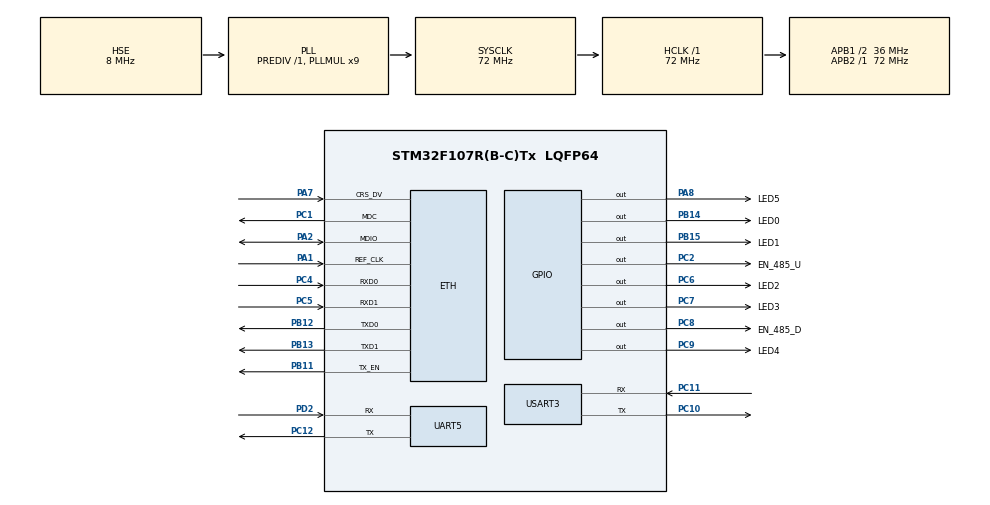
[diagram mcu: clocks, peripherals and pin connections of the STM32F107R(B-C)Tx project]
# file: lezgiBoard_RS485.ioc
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Dma.MEMTOMEM.0.Direction=DMA_MEMORY_TO_MEMORY
Dma.MEMTOMEM.0.Instance=DMA1_Channel1
Dma.MEMTOMEM.0.MemDataAlignment=DMA_MDATAALIGN_BYTE
Dma.MEMTOMEM.0.MemInc=DMA_MINC_ENABLE
Dma.MEMTOMEM.0.Mode=DMA_NORMAL
Dma.MEMTOMEM.0.PeriphDataAlignment=DMA_PDATAALIGN_BYTE
Dma.MEMTOMEM.0.PeriphInc=DMA_PINC_ENABLE
Dma.MEMTOMEM.0.Priority=DMA_PRIORITY_MEDIUM
Dma.Request0=MEMTOMEM
Dma.Request1=USART3_TX
Dma.Request2=USART3_RX
Dma.USART3_RX.2.Direction=DMA_PERIPH_TO_MEMORY
Dma.USART3_RX.2.Instance=DMA1_Channel3
Dma.USART3_RX.2.MemDataAlignment=DMA_MDATAALIGN_BYTE
Dma.USART3_RX.2.MemInc=DMA_MINC_ENABLE
Dma.USART3_RX.2.Mode=DMA_CIRCULAR
Dma.USART3_RX.2.PeriphDataAlignment=DMA_PDATAALIGN_BYTE
Dma.USART3_RX.2.PeriphInc=DMA_PINC_DISABLE
Dma.USART3_RX.2.Priority=DMA_PRIORITY_HIGH
Dma.USART3_TX.1.Direction=DMA_MEMORY_TO_PERIPH
Dma.USART3_TX.1.Instance=DMA1_Channel2
Dma.USART3_TX.1.MemDataAlignment=DMA_MDATAALIGN_BYTE
Dma.USART3_TX.1.MemInc=DMA_MINC_ENABLE
Dma.USART3_TX.1.Mode=DMA_NORMAL
Dma.USART3_TX.1.PeriphDataAlignment=DMA_PDATAALIGN_BYTE
Dma.USART3_TX.1.PeriphInc=DMA_PINC_DISABLE
Dma.USART3_TX.1.Priority=DMA_PRIORITY_MEDIUM
ETH.MediaInterface=ETH_MEDIA_INTERFACE_RMII
IWDG.Prescaler=IWDG_PRESCALER_32
IWDG.Reload=2500
LWIP.LWIP_DNS=1
LWIP.LWIP_NETIF_STATUS_CALLBACK=1
LWIP.Version=v2.0.3_Cube
Mcu.Family=STM32F1
Mcu.Name=STM32F107R(B-C)Tx
Mcu.Package=LQFP64
NVIC.DMA1_Channel1_IRQn=true\:0\:0\:false\:false\:true\:true\:true\:true
NVIC.DMA1_Channel2_IRQn=true\:0\:0\:false\:false\:true\:false\:true\:true
NVIC.DMA1_Channel3_IRQn=true\:0\:0\:false\:false\:true\:false\:true\:true
NVIC.ETH_IRQn=true\:0\:0\:false\:false\:true\:true\:true\:true
NVIC.ETH_WKUP_IRQn=true\:0\:0\:false\:false\:true\:true\:true\:true
NVIC.PriorityGroup=NVIC_PRIORITYGROUP_4
NVIC.TIM7_IRQn=true\:15\:0\:false\:false\:true\:false\:true\:true
NVIC.TimeBase=TIM7_IRQn
NVIC.TimeBaseIP=TIM7
NVIC.UART5_IRQn=true\:0\:0\:false\:false\:true\:true\:true\:true
NVIC.USART3_IRQn=true\:0\:0\:false\:false\:true\:true\:true\:true
PA1.Mode=RMII
PA1.Signal=ETH_REF_CLK
PA13.Mode=Serial_Wire
PA13.Signal=SYS_JTMS-SWDIO
PA14.Mode=Serial_Wire
PA14.Signal=SYS_JTCK-SWCLK
PA2.Mode=RMII
PA2.Signal=ETH_MDIO
PA7.Mode=RMII
PA7.Signal=ETH_CRS_DV
PA8.GPIO_Label=LED5
PA8.GPIO_ModeDefaultOutputPP=GPIO_MODE_OUTPUT_PP
PA8.GPIO_PuPd=GPIO_NOPULL
PA8.GPIO_Speed=GPIO_SPEED_FREQ_HIGH
PA8.PinState=GPIO_PIN_RESET
PA8.Signal=GPIO_Output
PB11.Mode=RMII
PB11.Signal=ETH_TX_EN
PB12.Mode=RMII
PB12.Signal=ETH_TXD0
PB13.Mode=RMII
PB13.Signal=ETH_TXD1
PB14.GPIO_Label=LED0
PB14.GPIO_ModeDefaultOutputPP=GPIO_MODE_OUTPUT_PP
PB14.GPIO_PuPd=GPIO_NOPULL
PB14.GPIO_Speed=GPIO_SPEED_FREQ_HIGH
PB14.PinState=GPIO_PIN_RESET
PB14.Signal=GPIO_Output
PB15.GPIO_Label=LED1
PB15.GPIO_ModeDefaultOutputPP=GPIO_MODE_OUTPUT_PP
PB15.GPIO_PuPd=GPIO_NOPULL
PB15.GPIO_Speed=GPIO_SPEED_FREQ_HIGH
PB15.PinState=GPIO_PIN_RESET
PB15.Signal=GPIO_Output
PC1.Mode=RMII
PC1.Signal=ETH_MDC
PC10.Mode=Asynchronous
PC10.Signal=USART3_TX
PC11.Mode=Asynchronous
PC11.Signal=USART3_RX
PC12.Mode=Asynchronous
PC12.Signal=UART5_TX
PC2.GPIO_Label=EN_485_U
PC2.GPIO_Speed=GPIO_SPEED_FREQ_HIGH
PC2.Signal=GPIO_Output
PC4.Mode=RMII
PC4.Signal=ETH_RXD0
PC5.Mode=RMII
PC5.Signal=ETH_RXD1
PC6.GPIO_Label=LED2
PC6.GPIO_ModeDefaultOutputPP=GPIO_MODE_OUTPUT_PP
PC6.GPIO_PuPd=GPIO_NOPULL
PC6.GPIO_Speed=GPIO_SPEED_FREQ_HIGH
PC6.PinState=GPIO_PIN_RESET
PC6.Signal=GPIO_Output
PC7.GPIO_Label=LED3
PC7.GPIO_ModeDefaultOutputPP=GPIO_MODE_OUTPUT_PP
PC7.GPIO_PuPd=GPIO_NOPULL
PC7.GPIO_Speed=GPIO_SPEED_FREQ_HIGH
PC7.PinState=GPIO_PIN_RESET
PC7.Signal=GPIO_Output
PC8.GPIO_Label=EN_485_D
PC8.GPIO_ModeDefaultOutputPP=GPIO_MODE_OUTPUT_PP
PC8.GPIO_PuPd=GPIO_NOPULL
PC8.GPIO_Speed=GPIO_SPEED_FREQ_HIGH
PC8.PinState=GPIO_PIN_RESET
PC8.Signal=GPIO_Output
PC9.GPIO_Label=LED4
PC9.GPIO_ModeDefaultOutputPP=GPIO_MODE_OUTPUT_PP
PC9.GPIO_PuPd=GPIO_NOPULL
PC9.GPIO_Speed=GPIO_SPEED_FREQ_HIGH
PC9.PinState=GPIO_PIN_RESET
PC9.Signal=GPIO_Output
PD0-OSC_IN.Mode=HSE-External-Oscillator
PD0-OSC_IN.Signal=RCC_OSC_IN
PD1-OSC_OUT.Mode=HSE-External-Oscillator
PD1-OSC_OUT.Signal=RCC_OSC_OUT
PD2.Mode=Asynchronous
PD2.Signal=UART5_RX
ProjectManager.HeapSize=0x200
ProjectManager.StackSize=0x400
ProjectManager.TargetToolchain=STM32CubeIDE
RCC.AHBFreq_Value=72000000
RCC.APB1CLKDivider=RCC_HCLK_DIV2
RCC.APB1Freq_Value=36000000
RCC.APB1TimFreq_Value=72000000
RCC.APB2Freq_Value=72000000
RCC.APB2TimFreq_Value=72000000
RCC.EnbaleCSS=true
RCC.HCLKFreq_Value=72000000
RCC.PLLMUL=RCC_PLL_MUL9
RCC.PLLSourceVirtual=RCC_PLLSOURCE_HSE
RCC.SYSCLKFreq_VALUE=72000000
RCC.SYSCLKSource=RCC_SYSCLKSOURCE_PLLCLK
RCC.USBFreq_Value=48000000
UART5.VirtualMode=Asynchronous
USART3.VirtualMode=VM_ASYNC
VP_IWDG_VS_IWDG.Mode=IWDG_Activate
VP_LWIP_VS_Enabled.Mode=Enabled
VP_SYS_VS_tim7.Mode=TIM7
board=custom

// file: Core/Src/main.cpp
/* USER CODE BEGIN Header */
/**
  ******************************************************************************
  * @file           : main.c
  * @brief          : Main program body
  ******************************************************************************
  * @attention
  *
  * Copyright (c) 2026 STMicroelectronics.
  * All rights reserved.
  *
  * This software is licensed under terms that can be found in the LICENSE file
  * in the root directory of this software component.
  * If no LICENSE file comes with this software, it is provided AS-IS.
  *
  ******************************************************************************
  */
/* USER CODE END Header */
#include "main.h"
#include "lwip.h"

/* USER CODE BEGIN Includes */
#include "stm32f1xx_hal_uart.h"
#include "stm32f1xx_it.h"
#include "jsonpacket.hpp"
/* USER CODE END Includes */

IWDG_HandleTypeDef hiwdg;

UART_HandleTypeDef huart5;
UART_HandleTypeDef huart3;
DMA_HandleTypeDef hdma_usart3_tx;
DMA_HandleTypeDef hdma_usart3_rx;

DMA_HandleTypeDef hdma_memtomem_dma1_channel1;
/* USER CODE BEGIN PV */
uint32_t nextLedTime,checkLinkState,sendRequest;
GPIO_PinState currentState;
uint8_t NetBiosName[100];
bool clientState = false;
err_t err;
HAL_StatusTypeDef uartErr;

extern struct netif gnetif;

uint8_t IPAddr[4],NetMask[4],Gateway[4],GIP[4];

extern uint8_t rxLineBusy;
Packets packet;
/* USER CODE END PV */

void SystemClock_Config(void);
static void MX_GPIO_Init(void);
static void MX_DMA_Init(void);
static void MX_IWDG_Init(void);
static void MX_UART5_Init(void);
static void MX_USART3_UART_Init(void);
/* USER CODE BEGIN PFP */
void ReadIP(void);
void sendProcessControl(Packets *packet);
HAL_StatusTypeDef rs485OneSendData(uint8_t *_data, uint32_t _dataLen);
//HAL_StatusTypeDef rs485OneSendData(uint8_t *_json, uint32_t _jsonLen = 0, uint8_t *_payload = nullptr, uint32_t _payloadLen = 0);
/* USER CODE END PFP */

/* USER CODE BEGIN 0 */
void HAL_UART_TxCpltCallback(UART_HandleTypeDef *huart)
{
	if(huart == &huart3)
	{
		while(__HAL_UART_GET_FLAG(&huart3, UART_FLAG_TC) == RESET);
		HAL_GPIO_WritePin(EN_485_U_GPIO_Port, EN_485_U_Pin, GPIO_PIN_RESET);
		packet.txPacketCompleted();
	}
}

void UartPacket_IdleCallback(UART_HandleTypeDef *huart)
{
	uint8_t *jsonBody = NULL,*payload = NULL;
	uint32_t jsonLen,payloadLen;
	packet.readRxPacket(huart, &jsonBody, &jsonLen, &payload, &payloadLen);
	rxLineBusy = 0;

	if(jsonLen == 0 || jsonBody == NULL)
	{
		return;
	}

	HAL_GPIO_WritePin(LED2_GPIO_Port, LED2_Pin, GPIO_PIN_SET);

	JsonDocument inputDoc;
	JsonDocument outputDoc;

	DeserializationError error = deserializeJson(inputDoc, jsonBody);

	if(!error)
	{
		if(inputDoc["type"].as<int>() == Request)
		{
			if(inputDoc["name"] != "LB")
			{
				return;
			}
			if(inputDoc["req"] == "Time")
			{
				outputDoc["type"] = Response;
				outputDoc["state"] = ok;
				outputDoc["name"] = "LB";
				outputDoc["Time"] = HAL_GetTick()/1000;
				packet.addTxPacket(Low, &outputDoc);
			}
			if(inputDoc["req"] == "TH")
			{
				outputDoc["type"] = Response;
				outputDoc["name"] = "LB";
				outputDoc["state"] = nok;
				packet.addTxPacket(Low, &outputDoc);
			}
		}
	}

}
/* USER CODE END 0 */

int main(void)
{

  /* MCU Configuration--------------------------------------------------------*/

  /* Reset of all peripherals, Initializes the Flash interface and the Systick. */
  HAL_Init();

  /* Configure the system clock */
  SystemClock_Config();

  /* USER CODE BEGIN SysInit */
  __enable_irq();
  /* USER CODE END SysInit */

  /* Initialize all configured peripherals */
  MX_GPIO_Init();
  MX_DMA_Init();
  MX_LWIP_Init();
  MX_UART5_Init();
  MX_USART3_UART_Init();
  MX_IWDG_Init();
  /* USER CODE BEGIN 2 */
	__HAL_IWDG_START(&hiwdg);
	HAL_IWDG_Refresh(&hiwdg);
	currentState = GPIO_PIN_RESET;
	sprintf((char*)NetBiosName,"rs485Server");
	netif_set_hostname(&gnetif,(char*)NetBiosName);
	HAL_IWDG_Refresh(&hiwdg);
	HAL_GPIO_WritePin(LED0_GPIO_Port, LED0_Pin, GPIO_PIN_SET);
	//HAL_UART_Receive_IT(&huart3,(uint8_t *)uartBuffer,300);
	packet.setRxLoopState(true);
	HAL_UART_Receive_DMA(&huart3, packet.getrxBuffer(), packet.getrxBufferSize());
	__HAL_UART_ENABLE_IT(&huart3, UART_IT_IDLE);
	__HAL_UART_ENABLE_IT(&huart3, UART_IT_RXNE);
	HAL_GPIO_WritePin(LED2_GPIO_Port, LED2_Pin, GPIO_PIN_RESET);
  /* USER CODE END 2 */

  /* Infinite loop */
  /* USER CODE BEGIN WHILE */
	nextLedTime = HAL_GetTick() + 500;
	checkLinkState = HAL_GetTick() + 1000;
	sendRequest = HAL_GetTick() + 2000;
  while (1)
  {
	  HAL_IWDG_Refresh(&hiwdg);
	  MX_LWIP_Process();
	  sendProcessControl(&packet);
    /* USER CODE END WHILE */

    /* USER CODE BEGIN 3 */
//	  if(HAL_GetTick() >= sendRequest)
//	  {
//		  sendRequest = HAL_GetTick() + 10;
//		  JsonDocument outputDoc;
//		  outputDoc["type"] = Request;
//		  outputDoc["req"] = "TH";
//		  packet.addTxPacket(High, &outputDoc);
//		  //rs485OneSendData(packet.readTxPacket()->txBuffer, packet.readTxPacket()->packetLen);
//	  }
  }
  /* USER CODE END 3 */
}

void SystemClock_Config(void)
{
  RCC_OscInitTypeDef RCC_OscInitStruct = {0};
  RCC_ClkInitTypeDef RCC_ClkInitStruct = {0};

  /** Initializes the RCC Oscillators according to the specified parameters
  * in the RCC_OscInitTypeDef structure.
  */
  RCC_OscInitStruct.OscillatorType = RCC_OSCILLATORTYPE_LSI|RCC_OSCILLATORTYPE_HSE;
  RCC_OscInitStruct.HSEState = RCC_HSE_ON;
  RCC_OscInitStruct.HSEPredivValue = RCC_HSE_PREDIV_DIV1;
  RCC_OscInitStruct.HSIState = RCC_HSI_ON;
  RCC_OscInitStruct.LSIState = RCC_LSI_ON;
  RCC_OscInitStruct.Prediv1Source = RCC_PREDIV1_SOURCE_HSE;
  RCC_OscInitStruct.PLL.PLLState = RCC_PLL_ON;
  RCC_OscInitStruct.PLL.PLLSource = RCC_PLLSOURCE_HSE;
  RCC_OscInitStruct.PLL.PLLMUL = RCC_PLL_MUL9;
  RCC_OscInitStruct.PLL2.PLL2State = RCC_PLL_NONE;
  if (HAL_RCC_OscConfig(&RCC_OscInitStruct) != HAL_OK)
  {
    Error_Handler();
  }

  /** Initializes the CPU, AHB and APB buses clocks
  */
  RCC_ClkInitStruct.ClockType = RCC_CLOCKTYPE_HCLK|RCC_CLOCKTYPE_SYSCLK
                              |RCC_CLOCKTYPE_PCLK1|RCC_CLOCKTYPE_PCLK2;
  RCC_ClkInitStruct.SYSCLKSource = RCC_SYSCLKSOURCE_PLLCLK;
  RCC_ClkInitStruct.AHBCLKDivider = RCC_SYSCLK_DIV1;
  RCC_ClkInitStruct.APB1CLKDivider = RCC_HCLK_DIV2;
  RCC_ClkInitStruct.APB2CLKDivider = RCC_HCLK_DIV1;

  if (HAL_RCC_ClockConfig(&RCC_ClkInitStruct, FLASH_LATENCY_2) != HAL_OK)
  {
    Error_Handler();
  }

  /** Enables the Clock Security System
  */
  HAL_RCC_EnableCSS();

  /** Configure the Systick interrupt time
  */
  __HAL_RCC_PLLI2S_ENABLE();
}

static void MX_IWDG_Init(void)
{

  hiwdg.Instance = IWDG;
  hiwdg.Init.Prescaler = IWDG_PRESCALER_32;
  hiwdg.Init.Reload = 2500;
  if (HAL_IWDG_Init(&hiwdg) != HAL_OK)
  {
    Error_Handler();
  }

}

static void MX_UART5_Init(void)
{

  huart5.Instance = UART5;
  huart5.Init.BaudRate = 115200;
  huart5.Init.WordLength = UART_WORDLENGTH_8B;
  huart5.Init.StopBits = UART_STOPBITS_1;
  huart5.Init.Parity = UART_PARITY_NONE;
  huart5.Init.Mode = UART_MODE_TX_RX;
  huart5.Init.HwFlowCtl = UART_HWCONTROL_NONE;
  huart5.Init.OverSampling = UART_OVERSAMPLING_16;
  if (HAL_UART_Init(&huart5) != HAL_OK)
  {
    Error_Handler();
  }

}

static void MX_USART3_UART_Init(void)
{

  huart3.Instance = USART3;
  huart3.Init.BaudRate = 115200;
  huart3.Init.WordLength = UART_WORDLENGTH_8B;
  huart3.Init.StopBits = UART_STOPBITS_1;
  huart3.Init.Parity = UART_PARITY_NONE;
  huart3.Init.Mode = UART_MODE_TX_RX;
  huart3.Init.HwFlowCtl = UART_HWCONTROL_NONE;
  huart3.Init.OverSampling = UART_OVERSAMPLING_16;
  if (HAL_UART_Init(&huart3) != HAL_OK)
  {
    Error_Handler();
  }

}

static void MX_DMA_Init(void)
{

  /* DMA controller clock enable */
  __HAL_RCC_DMA1_CLK_ENABLE();

  /* Configure DMA request hdma_memtomem_dma1_channel1 on DMA1_Channel1 */
  hdma_memtomem_dma1_channel1.Instance = DMA1_Channel1;
  hdma_memtomem_dma1_channel1.Init.Direction = DMA_MEMORY_TO_MEMORY;
  hdma_memtomem_dma1_channel1.Init.PeriphInc = DMA_PINC_ENABLE;
  hdma_memtomem_dma1_channel1.Init.MemInc = DMA_MINC_ENABLE;
  hdma_memtomem_dma1_channel1.Init.PeriphDataAlignment = DMA_PDATAALIGN_BYTE;
  hdma_memtomem_dma1_channel1.Init.MemDataAlignment = DMA_MDATAALIGN_BYTE;
  hdma_memtomem_dma1_channel1.Init.Mode = DMA_NORMAL;
  hdma_memtomem_dma1_channel1.Init.Priority = DMA_PRIORITY_MEDIUM;
  if (HAL_DMA_Init(&hdma_memtomem_dma1_channel1) != HAL_OK)
  {
    Error_Handler( );
  }

  /* DMA interrupt init */
  /* DMA1_Channel1_IRQn interrupt configuration */
  HAL_NVIC_SetPriority(DMA1_Channel1_IRQn, 0, 0);
  HAL_NVIC_EnableIRQ(DMA1_Channel1_IRQn);
  /* DMA1_Channel2_IRQn interrupt configuration */
  HAL_NVIC_SetPriority(DMA1_Channel2_IRQn, 0, 0);
  HAL_NVIC_EnableIRQ(DMA1_Channel2_IRQn);
  /* DMA1_Channel3_IRQn interrupt configuration */
  HAL_NVIC_SetPriority(DMA1_Channel3_IRQn, 0, 0);
  HAL_NVIC_EnableIRQ(DMA1_Channel3_IRQn);

}

static void MX_GPIO_Init(void)
{
  GPIO_InitTypeDef GPIO_InitStruct = {0};

  /* GPIO Ports Clock Enable */
  __HAL_RCC_GPIOD_CLK_ENABLE();
  __HAL_RCC_GPIOC_CLK_ENABLE();
  __HAL_RCC_GPIOA_CLK_ENABLE();
  __HAL_RCC_GPIOB_CLK_ENABLE();

  /*Configure GPIO pin Output Level */
  HAL_GPIO_WritePin(GPIOC, EN_485_U_Pin|LED2_Pin|LED3_Pin|EN_485_D_Pin
                          |LED4_Pin, GPIO_PIN_RESET);

  /*Configure GPIO pin Output Level */
  HAL_GPIO_WritePin(GPIOB, LED0_Pin|LED1_Pin, GPIO_PIN_RESET);

  /*Configure GPIO pin Output Level */
  HAL_GPIO_WritePin(LED5_GPIO_Port, LED5_Pin, GPIO_PIN_RESET);

  /*Configure GPIO pins : EN_485_U_Pin LED2_Pin LED3_Pin EN_485_D_Pin
                           LED4_Pin */
  GPIO_InitStruct.Pin = EN_485_U_Pin|LED2_Pin|LED3_Pin|EN_485_D_Pin
                          |LED4_Pin;
  GPIO_InitStruct.Mode = GPIO_MODE_OUTPUT_PP;
  GPIO_InitStruct.Pull = GPIO_NOPULL;
  GPIO_InitStruct.Speed = GPIO_SPEED_FREQ_HIGH;
  HAL_GPIO_Init(GPIOC, &GPIO_InitStruct);

  /*Configure GPIO pins : LED0_Pin LED1_Pin */
  GPIO_InitStruct.Pin = LED0_Pin|LED1_Pin;
  GPIO_InitStruct.Mode = GPIO_MODE_OUTPUT_PP;
  GPIO_InitStruct.Pull = GPIO_NOPULL;
  GPIO_InitStruct.Speed = GPIO_SPEED_FREQ_HIGH;
  HAL_GPIO_Init(GPIOB, &GPIO_InitStruct);

  /*Configure GPIO pin : LED5_Pin */
  GPIO_InitStruct.Pin = LED5_Pin;
  GPIO_InitStruct.Mode = GPIO_MODE_OUTPUT_PP;
  GPIO_InitStruct.Pull = GPIO_NOPULL;
  GPIO_InitStruct.Speed = GPIO_SPEED_FREQ_HIGH;
  HAL_GPIO_Init(LED5_GPIO_Port, &GPIO_InitStruct);

}

/* USER CODE BEGIN 4 */
void ReadIP(void)
{
	IPAddr[0] = gnetif.ip_addr.addr >> 0;
	IPAddr[1] = gnetif.ip_addr.addr >> 8;
	IPAddr[2] = gnetif.ip_addr.addr >> 16;
	IPAddr[3] = gnetif.ip_addr.addr >> 24;

	NetMask[0] = gnetif.netmask.addr >> 0;
	NetMask[1] = gnetif.netmask.addr >> 8;
	NetMask[2] = gnetif.netmask.addr >> 16;
	NetMask[3] = gnetif.netmask.addr >> 24;

	Gateway[0] = gnetif.gw.addr >> 0;
	Gateway[1] = gnetif.gw.addr >> 8;
	Gateway[2] = gnetif.gw.addr >> 16;
	Gateway[3] = gnetif.gw.addr >> 24;
}

HAL_StatusTypeDef rs485OneSendData(uint8_t *_data, uint32_t _dataLen)
{
	HAL_StatusTypeDef retvalue = HAL_OK;
	if(_data == NULL || _dataLen == 0)
	{
		return HAL_ERROR;
	}
	HAL_GPIO_WritePin(EN_485_U_GPIO_Port, EN_485_U_Pin, GPIO_PIN_SET);
	HAL_GPIO_WritePin(LED2_GPIO_Port, LED2_Pin, GPIO_PIN_RESET);
	retvalue = HAL_UART_Transmit_DMA(&huart3,_data,_dataLen);
	if(retvalue != HAL_OK)
	{
		HAL_GPIO_WritePin(EN_485_U_GPIO_Port, EN_485_U_Pin, GPIO_PIN_RESET);
		HAL_GPIO_WritePin(LED2_GPIO_Port, LED2_Pin, GPIO_PIN_SET);
	}
	return retvalue;
}

void sendProcessControl(Packets *packet)
{
	TXPacket *currentPacket = packet->readTxPacket();
	if(currentPacket != NULL)
	{
		if(HAL_GetTick() <= currentPacket->timeToSendus || currentPacket->state != WaitToSend)
		{
			return;
		}
		if(rxLineBusy == 0 && (HAL_GPIO_ReadPin(EN_485_U_GPIO_Port, EN_485_U_Pin) == GPIO_PIN_RESET))
		{
			currentPacket->state = WaitToSent;
			if(rs485OneSendData(currentPacket->txBuffer, currentPacket->packetLen) != HAL_OK)
			{
				currentPacket->state = WaitToSend;
				packet->packetResetTimer(currentPacket);
			}
		}
		else
		{
			packet->packetResetTimer(currentPacket);
		}
	}
}
/* USER CODE END 4 */

void HAL_TIM_PeriodElapsedCallback(TIM_HandleTypeDef *htim)
{
  if (htim->Instance == TIM7)
  {
    HAL_IncTick();
  }
  /* USER CODE BEGIN Callback 1 */
  if (htim->Instance == TIM7)
  {
	if(HAL_GetTick() >= checkLinkState)
	{
	checkLinkState = HAL_GetTick() + 1000;
//  		JsonDocument doc;
//  		doc["type"] = "time";
//  		doc["time"] = HAL_GetTick() / 1000;
//  		serializeJson(doc, buffer);
//  		uartErr = rs485OneSendData((uint8_t *)buffer, 0);
	if (netif_is_link_up(&gnetif))
	{
		HAL_GPIO_WritePin(LED4_GPIO_Port, LED4_Pin, GPIO_PIN_SET);
	}
	else
	{
		HAL_GPIO_WritePin(LED4_GPIO_Port, LED4_Pin, GPIO_PIN_RESET);
	}

	if (netif_is_up(&gnetif))
	{
		HAL_GPIO_WritePin(LED5_GPIO_Port, LED5_Pin, GPIO_PIN_SET);
		if(IPAddr[0] == 0)
		{
			ReadIP();
		}
	}
	else
	{
		HAL_GPIO_WritePin(LED5_GPIO_Port, LED5_Pin, GPIO_PIN_RESET);
	}
	}
	if(HAL_GetTick() >= nextLedTime)
	{
		nextLedTime = HAL_GetTick() + 500;
		//HAL_GPIO_WritePin(LED0_GPIO_Port, LED0_Pin, currentState);
		//HAL_GPIO_WritePin(LED1_GPIO_Port, LED1_Pin, currentState);
		//HAL_GPIO_WritePin(LED2_GPIO_Port, LED2_Pin, currentState);
		//HAL_GPIO_WritePin(LED3_GPIO_Port, LED3_Pin, currentState);
		//HAL_GPIO_WritePin(LED4_GPIO_Port, LED4_Pin, currentState);
		//HAL_GPIO_WritePin(LED5_GPIO_Port, LED5_Pin, currentState);
		HAL_GPIO_TogglePin(LED1_GPIO_Port, LED1_Pin);
	}
  }
  /* USER CODE END Callback 1 */
}

void Error_Handler(void)
{
  __disable_irq();
  while (1)
  {
  }
}
